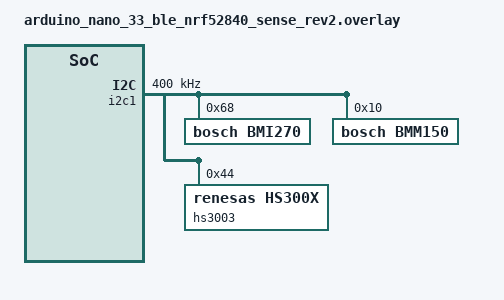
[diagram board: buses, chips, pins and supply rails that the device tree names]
/*
 * SPDX-FileCopyrightText: Copyright 2026 Loic Domaigne
 *
 * SPDX-License-Identifier: Apache-2.0
 */

#include <zephyr/dt-bindings/gpio/nordic-nrf-gpio.h>

/ {
	aliases {
		accel0 = &bmi270;
	};
};

/delete-node/ &lsm9ds1;
/delete-node/ &lsm9ds1_mag;
/delete-node/ &hts221;

&i2c1 {
	clock-frequency = <I2C_BITRATE_FAST>;

	bmi270: bmi270@68 {
		compatible = "bosch,bmi270";
		reg = <0x68>;
	};

	bmm150: bmm150@10 {
		compatible = "bosch,bmm150";
		reg = <0x10>;
	};

	hs3003: hts3003@44 {
		compatible = "renesas,hs300x";
		reg = <0x44>;
	};
};

&vdd_env {
	enable-gpios = <&gpio0 22 (GPIO_ACTIVE_HIGH | NRF_GPIO_DRIVE_H0H1)>;
};
